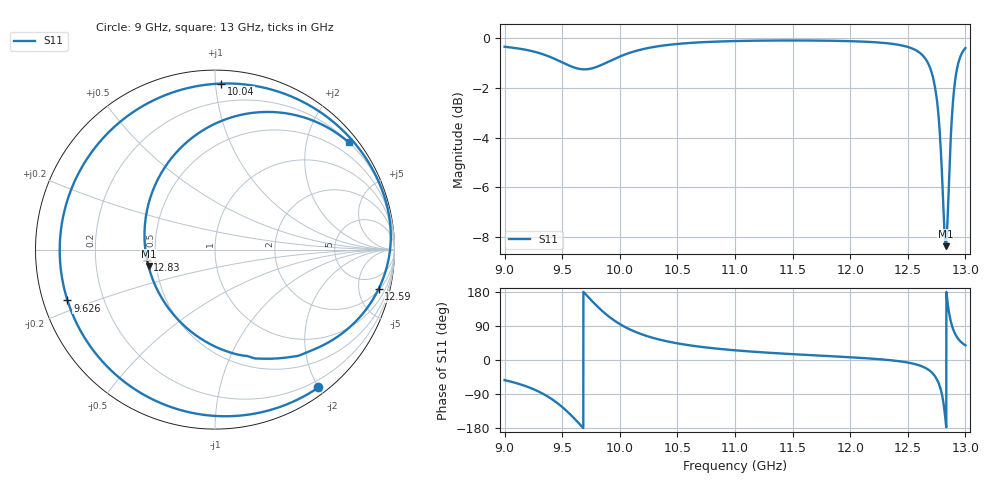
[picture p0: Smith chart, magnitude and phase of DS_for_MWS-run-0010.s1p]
! TOUCHSTONE file generated by CST DESIGN STUDIO
! Date and time: Tue Feb  4 16:12:28 2025
! Project name: C:\Work\MatlabApps\UnitCellOptimizationMatlab\CST\unitcell.cst
! Tree item: Tasks\Sweep1\SPara1\S-Parameters
! Header version: 2024
! Port assignment regex: !\s*Touchstone port\s*([0-9]+)\s*=\s*(CST MWS port|CST DES external port|CST DES block port)\s*(.+)\s* \(\"(.*)\"\)(\s*mode\s*([0-9]+))?.*
! Touchstone port assignment:
! Touchstone port 1 = CST DES external port 1 ("")
# GHz S MA R 50
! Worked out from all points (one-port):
!   4001 points, 9 GHz to 13 GHz, reference 50 ohm
!   lowest |S11| = -8.4 dB at 12.83 GHz (marker M1), VSWR 2.24, Z = 22.6 - j4.98 ohm
!   |S11| at or under -10 dB: nowhere
!   S11 on the Smith chart (normalised r, x): 9 GHz: 0.10, -2.00; 9.626 GHz: 0.07, -0.17; 10.04 GHz: 0.08, +1.03; 12.59 GHz: 2.17, -7.87; 12.83 GHz: 0.45, -0.06; 13 GHz: 0.21, +2.83
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9  0.9604 -53.1
9.172  0.9482 -67.8
9.325  0.9289 -87.8
9.5  0.8934 -124.1
9.626  0.8694 -161.0
9.721  0.8658 167.8
9.828  0.8805 134.8
9.909  0.8982 113.8
10  0.918 94.8
10.04  0.9258 87.9
10.244  0.9546 62.3
10.5  0.9729 43.9
11  0.986 25.6
11.5  0.9887 15.4
12  0.9855 7.2
12.5  0.9596 -6.7
12.593  0.9379 -13.5
12.704  0.8574 -31.6
12.74  0.7863 -44.7
12.771  0.6791 -63.6
12.802  0.5008 -99.5
12.83  0.3821 -165.8
12.832  0.3834 -171.6
12.848  0.4496 145.5
12.865  0.5737 113.5
12.893  0.7489 81.8
12.942  0.8967 54.1
13  0.9544 38.8
